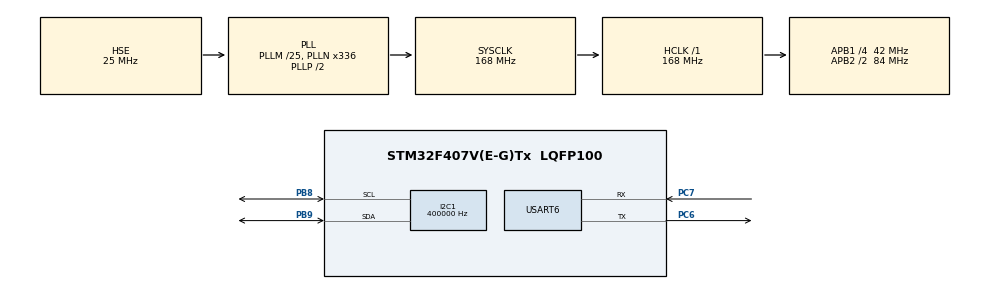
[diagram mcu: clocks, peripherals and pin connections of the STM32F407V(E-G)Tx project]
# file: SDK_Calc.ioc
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Mcu.Family=STM32F4
Mcu.Name=STM32F407V(E-G)Tx
Mcu.Package=LQFP100
NVIC.PriorityGroup=NVIC_PRIORITYGROUP_4
PA13.Mode=JTAG_5_pins
PA13.Signal=SYS_JTMS-SWDIO
PA14.Mode=JTAG_5_pins
PA14.Signal=SYS_JTCK-SWCLK
PA15.Mode=JTAG_5_pins
PA15.Signal=SYS_JTDI
PB3.Mode=JTAG_5_pins
PB3.Signal=SYS_JTDO-SWO
PB4.Mode=JTAG_5_pins
PB4.Signal=SYS_JTRST
PB8.Mode=I2C
PB8.Signal=I2C1_SCL
PB9.Mode=I2C
PB9.Signal=I2C1_SDA
PC6.Mode=Asynchronous
PC6.Signal=USART6_TX
PC7.Mode=Asynchronous
PC7.Signal=USART6_RX
PH0-OSC_IN.Mode=HSE-External-Oscillator
PH0-OSC_IN.Signal=RCC_OSC_IN
PH1-OSC_OUT.Mode=HSE-External-Oscillator
PH1-OSC_OUT.Signal=RCC_OSC_OUT
ProjectManager.HeapSize=0x200
ProjectManager.StackSize=0x400
ProjectManager.TargetToolchain=STM32CubeIDE
RCC.48MHZClocksFreq_Value=84000000
RCC.AHBFreq_Value=168000000
RCC.APB1CLKDivider=RCC_HCLK_DIV4
RCC.APB1Freq_Value=42000000
RCC.APB1TimFreq_Value=84000000
RCC.APB2CLKDivider=RCC_HCLK_DIV2
RCC.APB2Freq_Value=84000000
RCC.APB2TimFreq_Value=168000000
RCC.CortexFreq_Value=168000000
RCC.HCLKFreq_Value=168000000
RCC.HSE_VALUE=25000000
RCC.HSI_VALUE=16000000
RCC.LSE_VALUE=32768
RCC.PLLM=25
RCC.PLLN=336
RCC.PLLSourceVirtual=RCC_PLLSOURCE_HSE
RCC.SYSCLKFreq_VALUE=168000000
RCC.SYSCLKSource=RCC_SYSCLKSOURCE_PLLCLK
RCC.VCOOutputFreq_Value=336000000
USART6.VirtualMode=VM_ASYNC
board=custom
I2C1.ClockSpeed=400000

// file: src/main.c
#include "main.h"
#include "gpio.h"
#include "i2c.h"
#include "usart.h"

/* USER CODE BEGIN Includes */
#include "fonts.h"
#include "kb.h"
#include "oled.h"
#include "pca9538.h"
#include "sdk_uart.h"
#include <assert.h>
#include <stdbool.h>
#include <stdint.h>
#include <stdio.h>
/* USER CODE END Includes */

/* USER CODE BEGIN PV */

typedef enum { ENTER_A, ENTER_P, ENTER_B, SHOW_RESULT, SHOW_ERROR } status_t;
typedef enum {
  HAVE_A = 0b001,
  HAVE_P = 0b010,
  HAVE_B = 0b100,
} source_t;

#define MAX_OPERAND 99999999

static const char operations[] = {'=', '+', '-', '/', '*'};
static const char keymap[] = {'1', '2', '3', '4', '5', '6',
                              '7', '8', '9', 'S', '0', 'C'};

static status_t status = ENTER_A;
static uint8_t source = HAVE_A;

static uint8_t current = 0;
static uint8_t operant = 0;
static int32_t operand_a = 0;
static int32_t operand_b = 0;
static int32_t result = 0;

void increment_current(void) {
  current = (current + 1) % sizeof(operations);
  printf("%d\n", current);
}

void reset_current(void) { current = 0; }

static void new_example(void) {
  operand_a = operand_b = result = 0;
  operant = 0;
  source = 0;
  status = ENTER_A;
}

static void add_digit(int32_t *operand, source_t flag, char key) {
  if (*operand <= MAX_OPERAND) {
    *operand = *operand * 10 + (key - '0');
  }
  source |= flag;
}

static bool calculate(void) {
  int64_t a = operand_a, b = operand_b, r;

  switch (operant) {
  case '+':
    r = a + b;
    break;
  case '-':
    r = a - b;
    break;
  case '*':
    r = a * b;
    break;
  case '/':
    if (b == 0) {
      return false;
    }
    r = a / b;
    break;
  default:
    r = a;
    break;
  }

  if (r < INT32_MIN || r > INT32_MAX) {
    return false;
  }
  result = (int32_t)r;
  return true;
}

static void finish(void) {
  if (!((source & HAVE_P) && (source & HAVE_B))) {
    operant = 0;
  }
  status = calculate() ? SHOW_RESULT : SHOW_ERROR;
}

static void open_select(void) {
  if (status == SHOW_RESULT) {
    operand_a = result;
    operand_b = 0;
    operant = 0;
    source = HAVE_A;
  }
  reset_current();
  increment_current();
  status = ENTER_P;
}

static void enter_operation(void) {
  const char now = operations[current];
  reset_current();
  if (now == '=') {
    finish();
    return;
  }
  if (source & HAVE_B) {
    if (!calculate()) {
      status = SHOW_ERROR;
      return;
    }
    operand_a = result;
    operand_b = 0;
    source &= ~HAVE_B;
  }
  operant = now;
  source |= HAVE_A | HAVE_P;
  status = ENTER_B;
}

void pressed_key(const char key) {
  const bool is_digit = '0' <= key && key <= '9';

  switch (status) {
  case ENTER_A:
    if (is_digit) {
      add_digit(&operand_a, HAVE_A, key);
    } else if (key == 'S') {
      open_select();
    } else if (key == 'C') {
      finish();
    }
    break;

  case ENTER_P:
    if (key == 'S') {
      increment_current();
    } else if (key == 'C') {
      enter_operation();
    }
    break;

  case ENTER_B:
    if (is_digit) {
      add_digit(&operand_b, HAVE_B, key);
    } else if (key == 'S') {
      open_select();
    } else if (key == 'C') {
      finish();
    }
    break;

  case SHOW_RESULT:
    if (is_digit) {
      new_example();
      add_digit(&operand_a, HAVE_A, key);
    } else if (key == 'S') {
      open_select();
    }
    break;

  case SHOW_ERROR:
    if (is_digit) {
      new_example();
      add_digit(&operand_a, HAVE_A, key);
    }
    break;
  }
}

/* USER CODE END PV */

void SystemClock_Config(void);
/* USER CODE BEGIN PFP */
static void render(void);
static void log_key(uint8_t code, char key);
/* USER CODE END PFP */

int main(void) {

  /* MCU Configuration--------------------------------------------------------*/

  /* Reset of all peripherals, Initializes the Flash interface and the Systick.
   */
  HAL_Init();

  /* Configure the system clock */
  SystemClock_Config();

  /* Initialize all configured peripherals */
  MX_GPIO_Init();
  MX_I2C1_Init();
  MX_USART6_UART_Init();
  /* USER CODE BEGIN 2 */
  setvbuf(stdout, NULL, _IONBF, 0); // printf без буфера: выводит сразу
  oled_Init();
  if (KB_Init() != HAL_OK) {
    UART_Transmit((uint8_t *)"Keyboard init error\r\n");
  }
  UART_Transmit((uint8_t *)"Calculator ready\r\n");
  render();
  /* USER CODE END 2 */

  /* Infinite loop */
  while (1) {

    /* USER CODE BEGIN 3 */
    uint8_t code = KB_Poll();
    if (code) {
      char key = keymap[code - 1];
      pressed_key(key);
      log_key(code, key);
      render();
    }
  }
  /* USER CODE END 3 */
}

void SystemClock_Config(void) {
  RCC_OscInitTypeDef RCC_OscInitStruct = {0};
  RCC_ClkInitTypeDef RCC_ClkInitStruct = {0};

  /** Configure the main internal regulator output voltage
   */
  __HAL_RCC_PWR_CLK_ENABLE();
  __HAL_PWR_VOLTAGESCALING_CONFIG(PWR_REGULATOR_VOLTAGE_SCALE1);
  /** Initializes the CPU, AHB and APB busses clocks
   */
  RCC_OscInitStruct.OscillatorType = RCC_OSCILLATORTYPE_HSE;
  RCC_OscInitStruct.HSEState = RCC_HSE_ON;
  RCC_OscInitStruct.PLL.PLLState = RCC_PLL_ON;
  RCC_OscInitStruct.PLL.PLLSource = RCC_PLLSOURCE_HSE;
  RCC_OscInitStruct.PLL.PLLM = 25;
  RCC_OscInitStruct.PLL.PLLN = 336;
  RCC_OscInitStruct.PLL.PLLP = RCC_PLLP_DIV2;
  RCC_OscInitStruct.PLL.PLLQ = 4;
  if (HAL_RCC_OscConfig(&RCC_OscInitStruct) != HAL_OK) {
    Error_Handler();
  }
  /** Initializes the CPU, AHB and APB busses clocks
   */
  RCC_ClkInitStruct.ClockType = RCC_CLOCKTYPE_HCLK | RCC_CLOCKTYPE_SYSCLK |
                                RCC_CLOCKTYPE_PCLK1 | RCC_CLOCKTYPE_PCLK2;
  RCC_ClkInitStruct.SYSCLKSource = RCC_SYSCLKSOURCE_PLLCLK;
  RCC_ClkInitStruct.AHBCLKDivider = RCC_SYSCLK_DIV1;
  RCC_ClkInitStruct.APB1CLKDivider = RCC_HCLK_DIV4;
  RCC_ClkInitStruct.APB2CLKDivider = RCC_HCLK_DIV2;

  if (HAL_RCC_ClockConfig(&RCC_ClkInitStruct, FLASH_LATENCY_5) != HAL_OK) {
    Error_Handler();
  }
}

/* USER CODE BEGIN 4 */

int _write(int file, char *ptr, int len) {
  (void)file;
  HAL_UART_Transmit(&huart6, (uint8_t *)ptr, len, 100);
  return len;
}

#define ROW_A_Y 0
#define ROW_OPS_Y 13
#define ROW_B_Y 27
#define ROW_RESULT_Y 45
#define OP_CELL_W (OLED_WIDTH / sizeof(operations))
#define OPS_X ((OLED_WIDTH - sizeof(operations) * OP_CELL_W) / 2)

static void draw_right(uint8_t y, const char *str, FontDef font) {
  uint8_t len = 0;
  while (str[len]) {
    len++;
  }
  oled_SetCursor(OLED_WIDTH - 1 - len * font.FontWidth, y);
  oled_WriteString((char *)str, font, White);
}

static void draw_number(uint8_t y, int32_t value, FontDef font) {
  char buf[12];
  snprintf(buf, sizeof(buf), "%ld", (long)value);
  draw_right(y, buf, font);
}

static void fill_rect(uint8_t x1, uint8_t x2, uint8_t y1, uint8_t y2,
                      OLED_COLOR color) {
  for (uint8_t y = y1; y <= y2; y++) {
    oled_DrawHLine(x1, x2, y, color);
  }
}

static void draw_operations(void) {
  for (uint8_t i = 0; i < sizeof(operations); i++) {
    uint8_t x = OPS_X + i * OP_CELL_W;
    OLED_COLOR color = White;

    if (operations[i] == operant) {
      oled_DrawSquare(x, x + OP_CELL_W - 1, ROW_OPS_Y - 3, ROW_OPS_Y + 12,
                      White);
    }
    if (i == current) {
      fill_rect(x + 2, x + OP_CELL_W - 3, ROW_OPS_Y - 1, ROW_OPS_Y + 10, White);
      color = Black;
    }
    oled_SetCursor(x + (OP_CELL_W - Font_7x10.FontWidth) / 2, ROW_OPS_Y);
    oled_WriteChar(operations[i], Font_7x10, color);
  }
}

static void render(void) {
  oled_Fill(Black);

  draw_number(ROW_A_Y, operand_a, Font_7x10);
  draw_operations();
  if (source & HAVE_B) {
    draw_number(ROW_B_Y, operand_b, Font_7x10);
  }

  if (status == SHOW_RESULT) {
    draw_number(ROW_RESULT_Y, result, Font_11x18);
  } else if (status == SHOW_ERROR) {
    draw_right(ROW_RESULT_Y, "Error", Font_11x18);
  }

  oled_UpdateScreen();
}

static void log_key(uint8_t code, char key) {
  char buf[40];

  snprintf(buf, sizeof(buf), "key %u '%c'\r\n", code, key);
  UART_Transmit((uint8_t *)buf);
  if (status == SHOW_RESULT) {
    snprintf(buf, sizeof(buf), "= %ld\r\n", (long)result);
    UART_Transmit((uint8_t *)buf);
  } else if (status == SHOW_ERROR) {
    UART_Transmit((uint8_t *)"= error\r\n");
  }
}
/* USER CODE END 4 */

void Error_Handler(void) {
}

#ifdef USE_FULL_ASSERT
/**
 * @brief  Reports the name of the source file and the source line number
 *         where the assert_param error has occurred.
 * @param  file: pointer to the source file name
 * @param  line: assert_param error line source number
 * @retval None
 */
void assert_failed(uint8_t *file, uint32_t line) {
  /* USER CODE BEGIN 6 */
  /* User can add his own implementation to report the file name and line
     number, tex: printf("Wrong parameters value: file %s on line %d\r\n", file,
     line) */
  /* USER CODE END 6 */
}
#endif /* USE_FULL_ASSERT */

/************************ (C) COPYRIGHT STMicroelectronics *****END OF FILE****/
